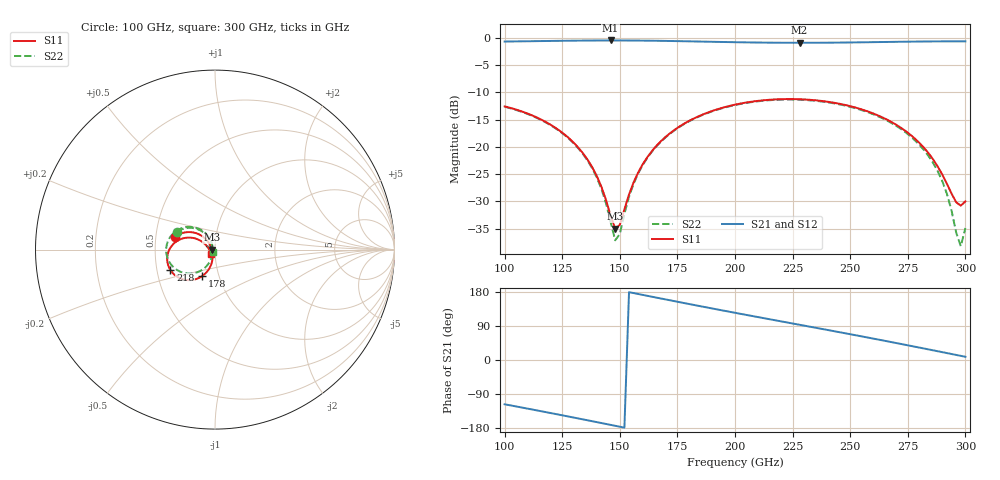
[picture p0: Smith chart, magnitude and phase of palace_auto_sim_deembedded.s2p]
! Created with skrf 1.11.0 (http://scikit-rf.org).
# GHz S DB R 50.0
!freq dBS11 angS11 dBS21 angS21 dBS12 angS12 dBS22 angS22
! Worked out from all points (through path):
!   101 points, 100 GHz to 300 GHz, reference 50 ohm
!   highest |S21| = -0.45 dB at 146 GHz (marker M1); lowest = -0.9 dB at 228 GHz (marker M2)
!   group delay of S21, straight-line fit = 3.24 ps
!   lowest |S11| = -35.0 dB at 148 GHz (marker M3), VSWR 1.04, Z = 48.3 - j0.0707 ohm
!   |S11| at or under -10 dB: start of sweep to end of sweep
!   |S22| runs from -38.2 to -11.3 dB; largest |S21 - S12| = 1.1e-14
!   S11 on the Smith chart (normalised r, x): 100 GHz: 0.63, +0.09; 178 GHz: 0.83, -0.25; 218 GHz: 0.59, -0.14; 300 GHz: 0.96, -0.04
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100  -12.56 163.0  -0.65 -116.8  -0.65 -116.8  -12.63 154.7
120  -15.94 142.8  -0.54 -140.0  -0.54 -140.0  -16.03 132.4
134  -21.16 132.1  -0.48 -156.7  -0.48 -156.7  -21.31 119.4
140  -25.33 132.5  -0.46 -163.9  -0.46 -163.9  -25.60 117.8
146  -32.60 154.7  -0.45 -171.2  -0.45 -171.2  -33.80 136.7
148  -35.00 -177.6  -0.46 -173.7  -0.46 -173.7  -37.15 168.5
150  -34.31 -142.5  -0.46 -176.1  -0.46 -176.1  -36.00 -147.4
154  -28.74 -110.9  -0.46 179.1  -0.46 179.1  -29.16 -117.1
158  -24.67 -104.4  -0.48 174.2  -0.48 174.2  -24.85 -113.0
168  -18.89 -107.3  -0.53 162.1  -0.53 162.1  -18.98 -118.5
178  -15.71 -115.8  -0.60 150.2  -0.60 150.2  -15.79 -128.6
200  -12.24 -137.4  -0.78 124.6  -0.78 124.6  -12.32 -152.8
218  -11.27 -155.4  -0.87 104.2  -0.87 104.2  -11.35 -172.7
228  -11.25 -165.3  -0.88 93.0  -0.88 93.0  -11.34 176.2
234  -11.40 -171.3  -0.88 86.2  -0.88 86.2  -11.50 169.6
252  -12.74 171.2  -0.81 65.8  -0.81 65.8  -12.87 149.6
268  -15.45 156.8  -0.72 47.1  -0.72 47.1  -15.64 132.0
278  -18.45 149.9  -0.66 35.2  -0.66 35.2  -18.76 121.8
286  -22.30 149.2  -0.63 25.5  -0.63 25.5  -22.95 115.8
292  -26.78 159.4  -0.62 18.2  -0.62 18.2  -28.65 117.9
298  -30.79 -154.9  -0.62 10.9  -0.62 10.9  -38.23 -173.3
300  -30.00 -134.6  -0.62 8.5  -0.62 8.5  -34.89 -133.9
